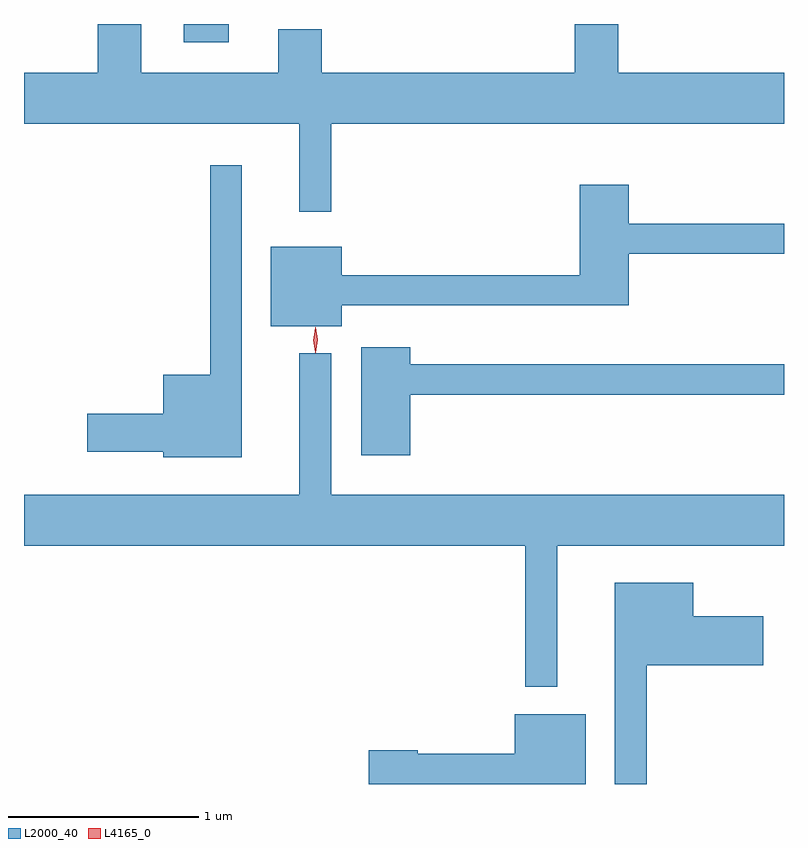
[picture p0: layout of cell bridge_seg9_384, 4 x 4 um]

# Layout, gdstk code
import gdstk
lib = gdstk.Library(unit=1e-6, precision=1e-09)
def R(c, l, rs):  # rectangles x0, y0, x1, y1
    for r in rs: c.add(gdstk.rectangle(r[:2], r[2:], *l))
def P(c, l, *ps):  # polygons
    for p in ps: c.add(gdstk.Polygon(p, *l))
L2000_40 = (2000, 40)
L4165_0 = (4165, 0)

bridge_seg9_384 = lib.new_cell('bridge_seg9_384')
R(bridge_seg9_384, L2000_40, [(899.163,1970.046,899.399,1970.141)])
P(bridge_seg9_384, L2000_40, [(899.939,1969.616),(902.322,1969.616),(902.322,1969.884),(901.449,1969.884),(901.449,1970.141),(901.221,1970.141),(901.221,1969.884),(899.889,1969.884),(899.889,1970.114),(899.661,1970.114),(899.661,1969.884),(898.939,1969.884),(898.939,1970.141),(898.711,1970.141),(898.711,1969.884),(898.322,1969.884),(898.322,1969.616),(899.771,1969.616),(899.771,1969.153),(899.939,1969.153)],
  [(899.469,1969.398),(899.301,1969.398),(899.301,1968.294),(899.056,1968.294),(899.056,1968.089),(898.656,1968.089),(898.656,1967.891),(899.056,1967.891),(899.056,1967.861),(899.469,1967.861)],
  [(899.994,1968.661),(901.504,1968.661),(901.504,1968.931),(902.322,1968.931),(902.322,1969.089),(901.504,1969.089),(901.504,1969.294),(901.246,1969.294),(901.246,1968.819),(899.994,1968.819),(899.994,1968.969),(899.621,1968.969),(899.621,1968.551),(899.994,1968.551)],
  [(900.354,1968.191),(902.322,1968.191),(902.322,1968.349),(900.354,1968.349),(900.354,1968.439),(900.096,1968.439),(900.096,1967.871),(900.354,1967.871)],
  [(901.129,1967.396),(902.322,1967.396),(902.322,1967.664),(899.939,1967.664),(899.939,1968.408),(899.771,1968.408),(899.771,1967.664),(898.322,1967.664),(898.322,1967.396),(900.961,1967.396),(900.961,1966.653),(901.129,1966.653)],
  [(901.599,1966.766),(902.214,1966.766),(902.214,1967.024),(901.844,1967.024),(901.844,1967.199),(901.431,1967.199),(901.431,1966.141),(901.599,1966.141)],
  [(901.279,1966.509),(900.906,1966.509),(900.906,1966.299),(900.394,1966.299),(900.394,1966.319),(900.136,1966.319),(900.136,1966.141),(901.279,1966.141)])
P(bridge_seg9_384, L4165_0, [(899.854,1968.413),(899.844,1968.477),(899.854,1968.54),(899.854,1968.541),(899.854,1968.54),(899.864,1968.477),(899.855,1968.413),(899.855,1968.413)],
  [(899.857,1968.409),(899.856,1968.41),(899.847,1968.478),(899.856,1968.546),(899.857,1968.546),(899.858,1968.546),(899.867,1968.478),(899.858,1968.41)])

lib.write_gds('bridge_seg9_384.gds')
